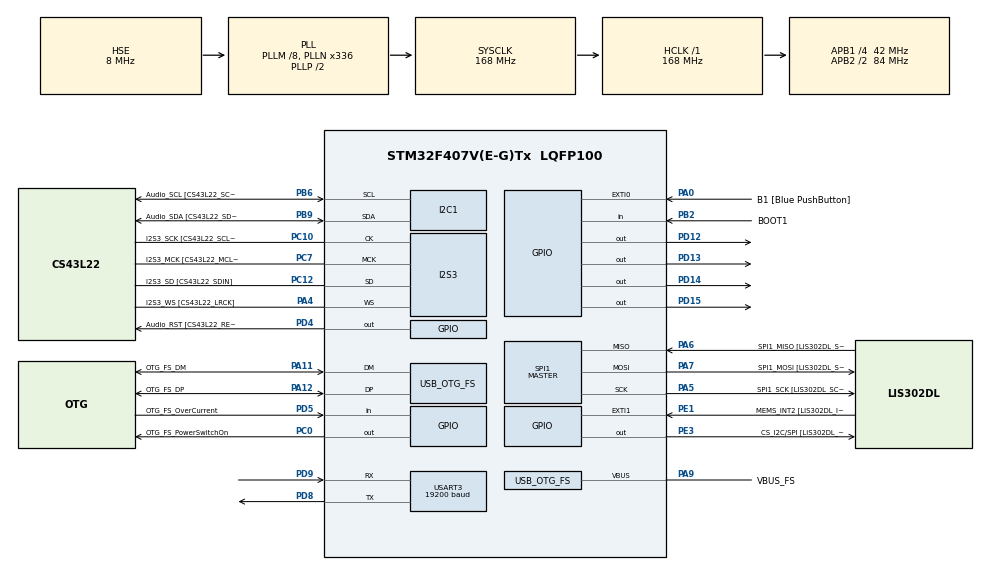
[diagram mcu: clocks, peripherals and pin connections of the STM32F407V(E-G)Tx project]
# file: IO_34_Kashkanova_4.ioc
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I2S3.AudioFreq-Half_Duplex_Master=I2S_AUDIOFREQ_96K
I2S3.ErrorAudioFreq=-2.34 %
I2S3.ErrorAudioFreq-Half_Duplex_Master=0.8 %
I2S3.FullDuplexMode=I2S_FULLDUPLEXMODE_DISABLE
I2S3.Instance=SPI$Index
I2S3.RealAudioFreq=93.75 KHz
I2S3.RealAudioFreq-Half_Duplex_Master=96.774 KHz
I2S3.VirtualMode=I2S_MODE_MASTER
Mcu.Family=STM32F4
Mcu.Name=STM32F407V(E-G)Tx
Mcu.Package=LQFP100
NVIC.OTG_FS_IRQn=true\:0\:0\:false\:false\:true\:true\:true\:true
NVIC.PriorityGroup=NVIC_PRIORITYGROUP_0
PA0-WKUP.GPIO_Label=B1 [Blue PushButton]
PA0-WKUP.GPIO_ModeDefaultEXTI=GPIO_MODE_EVT_RISING
PA0-WKUP.GPIO_PuPd=GPIO_NOPULL
PA0-WKUP.Signal=GPXTI0
PA10.GPIO_Label=OTG_FS_ID
PA10.GPIO_Mode=GPIO_MODE_AF_PP
PA10.GPIO_PuPd=GPIO_NOPULL
PA10.GPIO_Speed=GPIO_SPEED_FREQ_LOW
PA10.Signal=USB_OTG_FS_ID
PA11.GPIO_Label=OTG_FS_DM
PA11.GPIO_Mode=GPIO_MODE_AF_PP
PA11.GPIO_PuPd=GPIO_NOPULL
PA11.GPIO_Speed=GPIO_SPEED_FREQ_LOW
PA11.Mode=Host_Only
PA11.Signal=USB_OTG_FS_DM
PA12.GPIO_Label=OTG_FS_DP
PA12.GPIO_Mode=GPIO_MODE_AF_PP
PA12.GPIO_PuPd=GPIO_NOPULL
PA12.GPIO_Speed=GPIO_SPEED_FREQ_LOW
PA12.Mode=Host_Only
PA12.Signal=USB_OTG_FS_DP
PA13.GPIO_Label=SWDIO
PA13.Mode=Serial_Wire
PA13.Signal=SYS_JTMS-SWDIO
PA14.GPIO_Label=SWCLK
PA14.Mode=Serial_Wire
PA14.Signal=SYS_JTCK-SWCLK
PA4.GPIO_Label=I2S3_WS [CS43L22_LRCK]
PA4.GPIO_Mode=GPIO_MODE_AF_PP
PA4.GPIO_PuPd=GPIO_NOPULL
PA4.GPIO_Speed=GPIO_SPEED_FREQ_LOW
PA4.Mode=Half_Duplex_Master
PA4.Signal=I2S3_WS
PA5.GPIO_Label=SPI1_SCK [LIS302DL_SCL/SPC]
PA5.GPIO_Mode=GPIO_MODE_AF_PP
PA5.GPIO_PuPd=GPIO_NOPULL
PA5.GPIO_Speed=GPIO_SPEED_FREQ_LOW
PA5.Mode=Full_Duplex_Master
PA5.Signal=SPI1_SCK
PA6.GPIO_Label=SPI1_MISO [LIS302DL_SDO]
PA6.GPIO_Mode=GPIO_MODE_AF_PP
PA6.GPIO_PuPd=GPIO_NOPULL
PA6.GPIO_Speed=GPIO_SPEED_FREQ_LOW
PA6.Mode=Full_Duplex_Master
PA6.Signal=SPI1_MISO
PA7.GPIO_Label=SPI1_MOSI [LIS302DL_SDA/SDI/SDO]
PA7.GPIO_Mode=GPIO_MODE_AF_PP
PA7.GPIO_PuPd=GPIO_NOPULL
PA7.GPIO_Speed=GPIO_SPEED_FREQ_LOW
PA7.Mode=Full_Duplex_Master
PA7.Signal=SPI1_MOSI
PA9.GPIO_Label=VBUS_FS
PA9.GPIO_Mode=GPIO_MODE_INPUT
PA9.GPIO_PuPd=GPIO_NOPULL
PA9.Mode=Activate_VBUS
PA9.Signal=USB_OTG_FS_VBUS
PB10.GPIO_Label=CLK_IN [MP45DT02_CLK]
PB10.GPIO_Mode=GPIO_MODE_AF_PP
PB10.GPIO_PuPd=GPIO_NOPULL
PB10.GPIO_Speed=GPIO_SPEED_FREQ_LOW
PB10.Signal=I2S2_CK
PB2.GPIO_Label=BOOT1
PB2.GPIO_Mode=GPIO_MODE_INPUT
PB2.GPIO_PuPd=GPIO_NOPULL
PB2.Signal=GPIO_Input
PB3.GPIO_Label=SWO
PB3.Signal=SYS_JTDO-SWO
PB6.GPIO_Label=Audio_SCL [CS43L22_SCL]
PB6.GPIO_Mode=GPIO_MODE_AF_OD
PB6.GPIO_Pu=GPIO_PULLUP
PB6.GPIO_PuPd=GPIO_NOPULL
PB6.GPIO_Speed=GPIO_SPEED_FREQ_LOW
PB6.Mode=I2C
PB6.Signal=I2C1_SCL
PB9.GPIO_Label=Audio_SDA [CS43L22_SDA]
PB9.GPIO_Mode=GPIO_MODE_AF_OD
PB9.GPIO_Pu=GPIO_PULLUP
PB9.GPIO_PuPd=GPIO_NOPULL
PB9.GPIO_Speed=GPIO_SPEED_FREQ_LOW
PB9.Mode=I2C
PB9.Signal=I2C1_SDA
PC0.GPIO_Label=OTG_FS_PowerSwitchOn
PC0.GPIO_PuPd=GPIO_NOPULL
PC0.GPIO_Speed=GPIO_SPEED_FREQ_LOW
PC0.PinState=GPIO_PIN_SET
PC0.Signal=GPIO_Output
PC10.GPIO_Label=I2S3_SCK [CS43L22_SCLK]
PC10.GPIO_Mode=GPIO_MODE_AF_PP
PC10.GPIO_PuPd=GPIO_NOPULL
PC10.GPIO_Speed=GPIO_SPEED_FREQ_LOW
PC10.Mode=Half_Duplex_Master
PC10.Signal=I2S3_CK
PC12.GPIO_Label=I2S3_SD [CS43L22_SDIN]
PC12.GPIO_Mode=GPIO_MODE_AF_PP
PC12.GPIO_PuPd=GPIO_NOPULL
PC12.GPIO_Speed=GPIO_SPEED_FREQ_LOW
PC12.Mode=Half_Duplex_Master
PC12.Signal=I2S3_SD
PC14-OSC32_IN.GPIO_Label=PC14-OSC32_IN
PC14-OSC32_IN.Mode=LSE-External-Oscillator
PC14-OSC32_IN.Signal=RCC_OSC32_IN
PC15-OSC32_OUT.GPIO_Label=PC15-OSC32_OUT
PC15-OSC32_OUT.Mode=LSE-External-Oscillator
PC15-OSC32_OUT.Signal=RCC_OSC32_OUT
PC3.GPIO_Label=PDM_OUT [MP45DT02_DOUT]
PC3.GPIO_Mode=GPIO_MODE_AF_PP
PC3.GPIO_PuPd=GPIO_NOPULL
PC3.GPIO_Speed=GPIO_SPEED_FREQ_LOW
PC3.Signal=I2S2_SD
PC7.GPIO_Label=I2S3_MCK [CS43L22_MCLK]
PC7.GPIO_Mode=GPIO_MODE_AF_PP
PC7.GPIO_PuPd=GPIO_NOPULL
PC7.GPIO_Speed=GPIO_SPEED_FREQ_LOW
PC7.Mode=Master_Clock_Activated
PC7.Signal=I2S3_MCK
PD12.Signal=GPIO_Output
PD13.Signal=GPIO_Output
PD14.Signal=GPIO_Output
PD15.Signal=GPIO_Output
PD4.GPIO_Label=Audio_RST [CS43L22_RESET]
PD4.GPIO_PuPd=GPIO_NOPULL
PD4.GPIO_Speed=GPIO_SPEED_FREQ_LOW
PD4.Signal=GPIO_Output
PD5.GPIO_Label=OTG_FS_OverCurrent
PD5.GPIO_Mode=GPIO_MODE_INPUT
PD5.GPIO_PuPd=GPIO_NOPULL
PD5.Signal=GPIO_Input
PD8.Mode=Asynchronous
PD8.Signal=USART3_TX
PD9.Mode=Asynchronous
PD9.Signal=USART3_RX
PE1.GPIO_Label=MEMS_INT2 [LIS302DL_INT2]
PE1.GPIO_ModeDefaultEXTI=GPIO_MODE_EVT_RISING
PE1.GPIO_PuPd=GPIO_NOPULL
PE1.Signal=GPXTI1
PE3.GPIO_Label=CS_I2C/SPI [LIS302DL_CS_I2C/SPI]
PE3.GPIO_PuPd=GPIO_NOPULL
PE3.GPIO_Speed=GPIO_SPEED_FREQ_LOW
PE3.Signal=GPIO_Output
PH0-OSC_IN.GPIO_Label=PH0-OSC_IN
PH0-OSC_IN.Mode=HSE-External-Oscillator
PH0-OSC_IN.Signal=RCC_OSC_IN
PH1-OSC_OUT.GPIO_Label=PH1-OSC_OUT
PH1-OSC_OUT.Mode=HSE-External-Oscillator
PH1-OSC_OUT.Signal=RCC_OSC_OUT
ProjectManager.HeapSize=0x200
ProjectManager.StackSize=0x400
ProjectManager.TargetToolchain=STM32CubeIDE
RCC.48MHZClocksFreq_Value=48000000
RCC.AHBFreq_Value=168000000
RCC.APB1CLKDivider=RCC_HCLK_DIV4
RCC.APB1Freq_Value=42000000
RCC.APB1TimFreq_Value=84000000
RCC.APB2CLKDivider=RCC_HCLK_DIV2
RCC.APB2Freq_Value=84000000
RCC.APB2TimFreq_Value=168000000
RCC.CortexFreq_Value=168000000
RCC.HCLKFreq_Value=168000000
RCC.HSE_VALUE=8000000
RCC.HSI_VALUE=16000000
RCC.PLLM=8
RCC.PLLN=336
RCC.PLLQ=7
RCC.SYSCLKFreq_VALUE=168000000
RCC.SYSCLKSource=RCC_SYSCLKSOURCE_PLLCLK
RCC.VCOOutputFreq_Value=336000000
SPI1.BaudRatePrescaler-Full_Duplex_Master=SPI_BAUDRATEPRESCALER_2
SPI1.CalculateBaudRate-Full_Duplex_Master=42.0 MBits/s
SPI1.Direction=SPI_DIRECTION_2LINES
SPI1.Mode=SPI_MODE_MASTER
SPI1.Mode-Full_Duplex_Master=SPI_MODE_MASTER
SPI1.VirtualType=VM_MASTER
USART3.BaudRate=19200
USART3.VirtualMode=VM_ASYNC
USB_HOST.BSP.number=1
USB_HOST.USBH_HandleTypeDef-CDC_FS=hUsbHostFS
USB_HOST.VirtualModeFS=Cdc
USB_HOST0.BSP.STBoard=false
USB_HOST0.BSP.api=Unknown
USB_HOST0.BSP.instance=PC0
USB_HOST0.BSP.ip=GPIO
USB_HOST0.BSP.mode=Output
USB_HOST0.BSP.name=Drive_VBUS_FS
USB_HOST0.BSP.solution=PC0
USB_OTG_FS.VirtualMode=Host_Only
USB_OTG_FS.phy_itface=HCD_PHY_EMBEDDED
VP_USB_HOST_VS_USB_HOST_CDC_FS.Mode=CDC_FS
board=STM32F407G-DISC1

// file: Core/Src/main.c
/* USER CODE BEGIN Header */
/**
  ******************************************************************************
  * @file           : main.c
  * @brief          : Main program body
  ******************************************************************************
  * @attention
  *
  * Copyright (c) 2026 STMicroelectronics.
  * All rights reserved.
  *
  * This software is licensed under terms that can be found in the LICENSE file
  * in the root directory of this software component.
  * If no LICENSE file comes with this software, it is provided AS-IS.
  *
  ******************************************************************************
  */
/* USER CODE END Header */
#include "main.h"
#include "usb_host.h"

I2C_HandleTypeDef hi2c1;

I2S_HandleTypeDef hi2s3;

SPI_HandleTypeDef hspi1;

UART_HandleTypeDef huart3;

/* USER CODE BEGIN PV */
uint8_t rcvBuf[1];
uint8_t blue_state = 0, red_state = 0, green_state = 0, orange_state = 0;
/* USER CODE END PV */

void SystemClock_Config(void);
static void MX_GPIO_Init(void);
static void MX_I2C1_Init(void);
static void MX_I2S3_Init(void);
static void MX_SPI1_Init(void);
static void MX_USART3_UART_Init(void);
void MX_USB_HOST_Process(void);

int main(void)
{

  /* MCU Configuration--------------------------------------------------------*/

  /* Reset of all peripherals, Initializes the Flash interface and the Systick. */
  HAL_Init();

  /* Configure the system clock */
  SystemClock_Config();

  /* Initialize all configured peripherals */
  MX_GPIO_Init();
  MX_I2C1_Init();
  MX_I2S3_Init();
  MX_SPI1_Init();
  MX_USB_HOST_Init();
  MX_USART3_UART_Init();

  /* Infinite loop */
  while (1)
  {
    MX_USB_HOST_Process();

    /* USER CODE BEGIN 3 */
    if (HAL_UART_Receive(&huart3, rcvBuf, 1, 100) == HAL_OK)
    {
      switch (rcvBuf[0])
      {
        case '0':
          if (blue_state == 0) {
            HAL_GPIO_WritePin(GPIOD, GPIO_PIN_15, GPIO_PIN_SET);
            HAL_UART_Transmit(&huart3, (uint8_t *)" - Blue LED ON\r\n", 16, 100);
            blue_state = 1;
          } else {
            HAL_GPIO_WritePin(GPIOD, GPIO_PIN_15, GPIO_PIN_RESET);
            HAL_UART_Transmit(&huart3, (uint8_t *)" - Blue LED OFF\r\n", 17, 100);
            blue_state = 0;
          }
          break;

        case '1':
          if (red_state == 0) {
            HAL_GPIO_WritePin(GPIOD, GPIO_PIN_14, GPIO_PIN_SET);
            HAL_UART_Transmit(&huart3, (uint8_t *)" - Red LED ON\r\n", 15, 100);
            red_state = 1;
          } else {
            HAL_GPIO_WritePin(GPIOD, GPIO_PIN_14, GPIO_PIN_RESET);
            HAL_UART_Transmit(&huart3, (uint8_t *)" - Red LED OFF\r\n", 16, 100);
            red_state = 0;
          }
          break;

        case '2':
          if (orange_state == 0) {
            HAL_GPIO_WritePin(GPIOD, GPIO_PIN_13, GPIO_PIN_SET);
            HAL_UART_Transmit(&huart3, (uint8_t *)" - Orange LED ON\r\n", 18, 100);
            orange_state = 1;
          } else {
            HAL_GPIO_WritePin(GPIOD, GPIO_PIN_13, GPIO_PIN_RESET);
            HAL_UART_Transmit(&huart3, (uint8_t *)" - Orange LED OFF\r\n", 19, 100);
            orange_state = 0;
          }
          break;

        case '3':
          if (green_state == 0) {
            HAL_GPIO_WritePin(GPIOD, GPIO_PIN_12, GPIO_PIN_SET);
            HAL_UART_Transmit(&huart3, (uint8_t *)" - Green LED ON\r\n", 17, 100);
            green_state = 1;
          } else {
            HAL_GPIO_WritePin(GPIOD, GPIO_PIN_12, GPIO_PIN_RESET);
            HAL_UART_Transmit(&huart3, (uint8_t *)" - Green LED OFF\r\n", 18, 100);
            green_state = 0;
          }
          break;

        case '4':
          if (blue_state == 0 || red_state == 0 || orange_state == 0 || green_state == 0) {
            HAL_GPIO_WritePin(GPIOD, GPIO_PIN_12|GPIO_PIN_13|GPIO_PIN_14|GPIO_PIN_15, GPIO_PIN_SET);
            HAL_UART_Transmit(&huart3, (uint8_t *)" - All LEDs ON\r\n", 16, 100);
            blue_state = red_state = orange_state = green_state = 1;
          } else {
            HAL_GPIO_WritePin(GPIOD, GPIO_PIN_12|GPIO_PIN_13|GPIO_PIN_14|GPIO_PIN_15, GPIO_PIN_RESET);
            HAL_UART_Transmit(&huart3, (uint8_t *)" - All LEDs OFF\r\n", 17, 100);
            blue_state = red_state = orange_state = green_state = 0;
          }
          break;

        default:
          HAL_UART_Transmit(&huart3, (uint8_t *)" - Unknown Cmd\r\n", 16, 100);
          break;
      }
    }
  }
  /* USER CODE END 3 */
}

void SystemClock_Config(void)
{
  RCC_OscInitTypeDef RCC_OscInitStruct = {0};
  RCC_ClkInitTypeDef RCC_ClkInitStruct = {0};

  /** Configure the main internal regulator output voltage
  */
  __HAL_RCC_PWR_CLK_ENABLE();
  __HAL_PWR_VOLTAGESCALING_CONFIG(PWR_REGULATOR_VOLTAGE_SCALE1);

  /** Initializes the RCC Oscillators according to the specified parameters
  * in the RCC_OscInitTypeDef structure.
  */
  RCC_OscInitStruct.OscillatorType = RCC_OSCILLATORTYPE_HSE;
  RCC_OscInitStruct.HSEState = RCC_HSE_ON;
  RCC_OscInitStruct.PLL.PLLState = RCC_PLL_ON;
  RCC_OscInitStruct.PLL.PLLSource = RCC_PLLSOURCE_HSE;
  RCC_OscInitStruct.PLL.PLLM = 8;
  RCC_OscInitStruct.PLL.PLLN = 336;
  RCC_OscInitStruct.PLL.PLLP = RCC_PLLP_DIV2;
  RCC_OscInitStruct.PLL.PLLQ = 7;
  if (HAL_RCC_OscConfig(&RCC_OscInitStruct) != HAL_OK)
  {
    Error_Handler();
  }

  /** Initializes the CPU, AHB and APB buses clocks
  */
  RCC_ClkInitStruct.ClockType = RCC_CLOCKTYPE_HCLK|RCC_CLOCKTYPE_SYSCLK
                              |RCC_CLOCKTYPE_PCLK1|RCC_CLOCKTYPE_PCLK2;
  RCC_ClkInitStruct.SYSCLKSource = RCC_SYSCLKSOURCE_PLLCLK;
  RCC_ClkInitStruct.AHBCLKDivider = RCC_SYSCLK_DIV1;
  RCC_ClkInitStruct.APB1CLKDivider = RCC_HCLK_DIV4;
  RCC_ClkInitStruct.APB2CLKDivider = RCC_HCLK_DIV2;

  if (HAL_RCC_ClockConfig(&RCC_ClkInitStruct, FLASH_LATENCY_5) != HAL_OK)
  {
    Error_Handler();
  }
}

static void MX_I2C1_Init(void)
{

  hi2c1.Instance = I2C1;
  hi2c1.Init.ClockSpeed = 100000;
  hi2c1.Init.DutyCycle = I2C_DUTYCYCLE_2;
  hi2c1.Init.OwnAddress1 = 0;
  hi2c1.Init.AddressingMode = I2C_ADDRESSINGMODE_7BIT;
  hi2c1.Init.DualAddressMode = I2C_DUALADDRESS_DISABLE;
  hi2c1.Init.OwnAddress2 = 0;
  hi2c1.Init.GeneralCallMode = I2C_GENERALCALL_DISABLE;
  hi2c1.Init.NoStretchMode = I2C_NOSTRETCH_DISABLE;
  if (HAL_I2C_Init(&hi2c1) != HAL_OK)
  {
    Error_Handler();
  }

}

static void MX_I2S3_Init(void)
{

  hi2s3.Instance = SPI3;
  hi2s3.Init.Mode = I2S_MODE_MASTER_TX;
  hi2s3.Init.Standard = I2S_STANDARD_PHILIPS;
  hi2s3.Init.DataFormat = I2S_DATAFORMAT_16B;
  hi2s3.Init.MCLKOutput = I2S_MCLKOUTPUT_ENABLE;
  hi2s3.Init.AudioFreq = I2S_AUDIOFREQ_96K;
  hi2s3.Init.CPOL = I2S_CPOL_LOW;
  hi2s3.Init.ClockSource = I2S_CLOCK_PLL;
  hi2s3.Init.FullDuplexMode = I2S_FULLDUPLEXMODE_DISABLE;
  if (HAL_I2S_Init(&hi2s3) != HAL_OK)
  {
    Error_Handler();
  }

}

static void MX_SPI1_Init(void)
{

  /* SPI1 parameter configuration*/
  hspi1.Instance = SPI1;
  hspi1.Init.Mode = SPI_MODE_MASTER;
  hspi1.Init.Direction = SPI_DIRECTION_2LINES;
  hspi1.Init.DataSize = SPI_DATASIZE_8BIT;
  hspi1.Init.CLKPolarity = SPI_POLARITY_LOW;
  hspi1.Init.CLKPhase = SPI_PHASE_1EDGE;
  hspi1.Init.NSS = SPI_NSS_SOFT;
  hspi1.Init.BaudRatePrescaler = SPI_BAUDRATEPRESCALER_2;
  hspi1.Init.FirstBit = SPI_FIRSTBIT_MSB;
  hspi1.Init.TIMode = SPI_TIMODE_DISABLE;
  hspi1.Init.CRCCalculation = SPI_CRCCALCULATION_DISABLE;
  hspi1.Init.CRCPolynomial = 10;
  if (HAL_SPI_Init(&hspi1) != HAL_OK)
  {
    Error_Handler();
  }

}

static void MX_USART3_UART_Init(void)
{

  huart3.Instance = USART3;
  huart3.Init.BaudRate = 19200;
  huart3.Init.WordLength = UART_WORDLENGTH_8B;
  huart3.Init.StopBits = UART_STOPBITS_1;
  huart3.Init.Parity = UART_PARITY_NONE;
  huart3.Init.Mode = UART_MODE_TX_RX;
  huart3.Init.HwFlowCtl = UART_HWCONTROL_NONE;
  huart3.Init.OverSampling = UART_OVERSAMPLING_16;
  if (HAL_UART_Init(&huart3) != HAL_OK)
  {
    Error_Handler();
  }

}

static void MX_GPIO_Init(void)
{
  GPIO_InitTypeDef GPIO_InitStruct = {0};

  /* GPIO Ports Clock Enable */
  __HAL_RCC_GPIOE_CLK_ENABLE();
  __HAL_RCC_GPIOC_CLK_ENABLE();
  __HAL_RCC_GPIOH_CLK_ENABLE();
  __HAL_RCC_GPIOA_CLK_ENABLE();
  __HAL_RCC_GPIOB_CLK_ENABLE();
  __HAL_RCC_GPIOD_CLK_ENABLE();

  /*Configure GPIO pin Output Level */
  HAL_GPIO_WritePin(CS_I2C_SPI_GPIO_Port, CS_I2C_SPI_Pin, GPIO_PIN_RESET);

  /*Configure GPIO pin Output Level */
  HAL_GPIO_WritePin(OTG_FS_PowerSwitchOn_GPIO_Port, OTG_FS_PowerSwitchOn_Pin, GPIO_PIN_SET);

  /*Configure GPIO pin Output Level */
  HAL_GPIO_WritePin(GPIOD, GPIO_PIN_12|GPIO_PIN_13|GPIO_PIN_14|GPIO_PIN_15
                          |Audio_RST_Pin, GPIO_PIN_RESET);

  /*Configure GPIO pin : CS_I2C_SPI_Pin */
  GPIO_InitStruct.Pin = CS_I2C_SPI_Pin;
  GPIO_InitStruct.Mode = GPIO_MODE_OUTPUT_PP;
  GPIO_InitStruct.Pull = GPIO_NOPULL;
  GPIO_InitStruct.Speed = GPIO_SPEED_FREQ_LOW;
  HAL_GPIO_Init(CS_I2C_SPI_GPIO_Port, &GPIO_InitStruct);

  /*Configure GPIO pin : OTG_FS_PowerSwitchOn_Pin */
  GPIO_InitStruct.Pin = OTG_FS_PowerSwitchOn_Pin;
  GPIO_InitStruct.Mode = GPIO_MODE_OUTPUT_PP;
  GPIO_InitStruct.Pull = GPIO_NOPULL;
  GPIO_InitStruct.Speed = GPIO_SPEED_FREQ_LOW;
  HAL_GPIO_Init(OTG_FS_PowerSwitchOn_GPIO_Port, &GPIO_InitStruct);

  /*Configure GPIO pin : PDM_OUT_Pin */
  GPIO_InitStruct.Pin = PDM_OUT_Pin;
  GPIO_InitStruct.Mode = GPIO_MODE_AF_PP;
  GPIO_InitStruct.Pull = GPIO_NOPULL;
  GPIO_InitStruct.Speed = GPIO_SPEED_FREQ_LOW;
  GPIO_InitStruct.Alternate = GPIO_AF5_SPI2;
  HAL_GPIO_Init(PDM_OUT_GPIO_Port, &GPIO_InitStruct);

  /*Configure GPIO pin : B1_Pin */
  GPIO_InitStruct.Pin = B1_Pin;
  GPIO_InitStruct.Mode = GPIO_MODE_EVT_RISING;
  GPIO_InitStruct.Pull = GPIO_NOPULL;
  HAL_GPIO_Init(B1_GPIO_Port, &GPIO_InitStruct);

  /*Configure GPIO pin : BOOT1_Pin */
  GPIO_InitStruct.Pin = BOOT1_Pin;
  GPIO_InitStruct.Mode = GPIO_MODE_INPUT;
  GPIO_InitStruct.Pull = GPIO_NOPULL;
  HAL_GPIO_Init(BOOT1_GPIO_Port, &GPIO_InitStruct);

  /*Configure GPIO pin : CLK_IN_Pin */
  GPIO_InitStruct.Pin = CLK_IN_Pin;
  GPIO_InitStruct.Mode = GPIO_MODE_AF_PP;
  GPIO_InitStruct.Pull = GPIO_NOPULL;
  GPIO_InitStruct.Speed = GPIO_SPEED_FREQ_LOW;
  GPIO_InitStruct.Alternate = GPIO_AF5_SPI2;
  HAL_GPIO_Init(CLK_IN_GPIO_Port, &GPIO_InitStruct);

  /*Configure GPIO pins : PD12 PD13 PD14 PD15
                           Audio_RST_Pin */
  GPIO_InitStruct.Pin = GPIO_PIN_12|GPIO_PIN_13|GPIO_PIN_14|GPIO_PIN_15
                          |Audio_RST_Pin;
  GPIO_InitStruct.Mode = GPIO_MODE_OUTPUT_PP;
  GPIO_InitStruct.Pull = GPIO_NOPULL;
  GPIO_InitStruct.Speed = GPIO_SPEED_FREQ_LOW;
  HAL_GPIO_Init(GPIOD, &GPIO_InitStruct);

  /*Configure GPIO pin : OTG_FS_OverCurrent_Pin */
  GPIO_InitStruct.Pin = OTG_FS_OverCurrent_Pin;
  GPIO_InitStruct.Mode = GPIO_MODE_INPUT;
  GPIO_InitStruct.Pull = GPIO_NOPULL;
  HAL_GPIO_Init(OTG_FS_OverCurrent_GPIO_Port, &GPIO_InitStruct);

  /*Configure GPIO pin : MEMS_INT2_Pin */
  GPIO_InitStruct.Pin = MEMS_INT2_Pin;
  GPIO_InitStruct.Mode = GPIO_MODE_EVT_RISING;
  GPIO_InitStruct.Pull = GPIO_NOPULL;
  HAL_GPIO_Init(MEMS_INT2_GPIO_Port, &GPIO_InitStruct);

}

void Error_Handler(void)
{
  __disable_irq();
  while (1)
  {
  }
}
